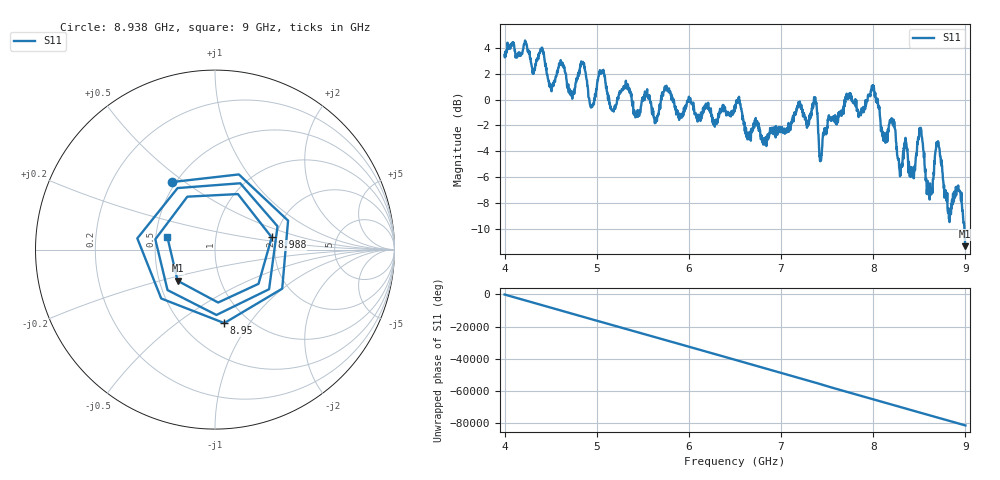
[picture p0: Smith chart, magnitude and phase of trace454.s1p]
! Created with skrf 1.8.0 (http://scikit-rf.org).
# Hz S RI R 50.0
!freq ReS11 ImS11
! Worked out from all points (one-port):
!   1601 points, 4 GHz to 9 GHz, reference 50 ohm
!   lowest |S11| = -11.3 dB at 8.997 GHz (marker M1), VSWR 1.74, Z = 31.1 - j11.7 ohm
!   |S11| at or under -10 dB: 8.989411 GHz to end of sweep
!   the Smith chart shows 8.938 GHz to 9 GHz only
!   S11 on the Smith chart (normalised r, x): 8.938 GHz: 0.48, +0.45; 8.95 GHz: 0.78, -0.77; 8.988 GHz: 1.89, +0.29; 9 GHz: 0.58, +0.08
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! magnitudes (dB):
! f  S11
! 4 GHz  3.5
! 4.625 GHz  2.9
! 4.731 GHz  0.4
! 4.85 GHz  2.9
! 4.944 GHz  -0.4
! 5.05 GHz  2.2
! 5.162 GHz  -0.8
! 5.25 GHz  0.7
! 5.875 GHz  -0.9
! 6.5 GHz  -0.4
! 6.819 GHz  -3.4
! 7.125 GHz  -1.4
! 7.366 GHz  -0.1
! 7.434 GHz  -4.7
! 7.75 GHz  0.1
! 8 GHz  1.1
! 8.116 GHz  -2.6
! 8.375 GHz  -4.4
! 8.434 GHz  -6.0
! 8.512 GHz  -2.3
! 8.606 GHz  -6.8
! 8.697 GHz  -3.5
! 8.819 GHz  -8.4
! 8.938 GHz  -7.0
! 8.95 GHz  -7.7
! 8.988 GHz  -9.8
! 8.997 GHz  -11.3
! 9 GHz  -11.3
